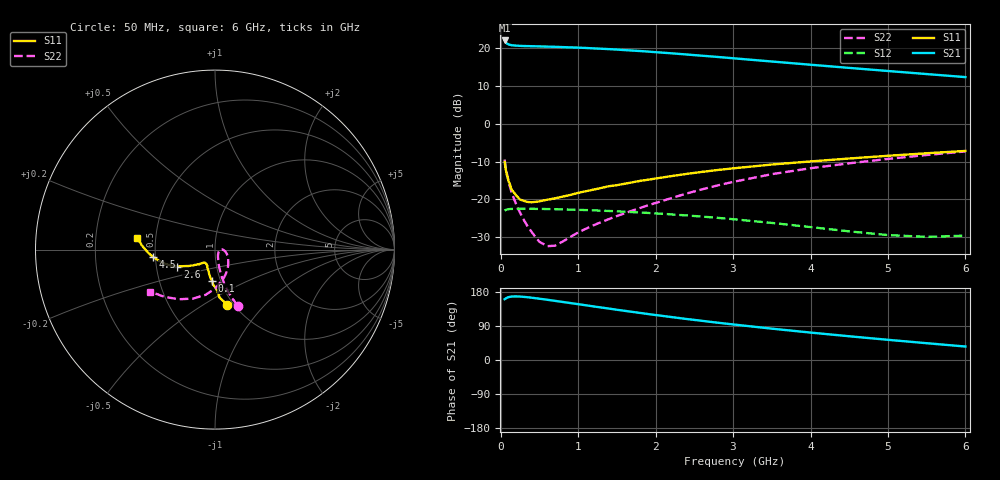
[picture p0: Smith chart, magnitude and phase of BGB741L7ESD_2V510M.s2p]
! (c) 2009  Infineon Technologies AG, Munich
!  Infineon Technologies AG
!  BGB741L7ESD
!  Vce = 2.5V, Ic = 10.0mA
!  DATUM: 30.06.2009 10:08:46
# GHz  S  MA  R  50
!f  S11  S21  S12  S22
!GHz  Mag  Ang  Mag  Ang  Mag  Ang  Mag  Ang
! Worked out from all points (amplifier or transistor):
!   44 points, 50 MHz to 6 GHz, reference 50 ohm
!   highest |S21| = 22.1 dB at 50 MHz (marker M1)
!   |S21| within 3 dB of that: start of sweep to 1.933 GHz
!   unconditionally stable (mu >= 1): 202.3 MHz to end of sweep
!   at 120 MHz: K = 0.97, MSG = 21.8 dB, |S12| = -22.6 dB
!   at 1 GHz: K = 1.03, MAG = 20.4 dB, |S12| = -22.8 dB
!   at 6 GHz: K = 2.32, MAG = 14.6 dB, |S12| = -29.7 dB
!   lowest NFmin = 0.98 dB at 450 MHz
!   S11 on the Smith chart (normalised r, x): 50 MHz: 0.93, -0.63; 100 MHz: 0.91, -0.33; 2.6 GHz: 0.64, -0.13; 4.5 GHz: 0.49, -0.05; 6 GHz: 0.39, +0.06
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0.05  0.3134 -77.7  12.74 160.5  0.07034 19.8  0.336 -68.1
0.07  0.2321 -86.6  11.85 163.2  0.07244 14.2  0.2469 -72.6
0.08  0.2066 -90.3  11.6 164.2  0.07307 12.3  0.2174 -73.8
0.1  0.1733 -95.3  11.3 165.7  0.07384 9.6  0.1743 -75.5
0.15  0.1305 -105.2  10.99 167.6  0.07451 5.7  0.1155 -76.6
0.2  0.1124 -111.9  10.88 167.8  0.07479 3.6  0.08518 -76.1
0.3  0.09483 -120.0  10.75 166.6  0.07478 1.0  0.05286 -71.0
0.6  0.0984 -131.8  10.56 159.0  0.0741 -3.2  0.02386 -32.5
0.8  0.1084 -135.0  10.41 153.2  0.07333 -5.2  0.02745 -6.9
1.1  0.1277 -139.8  10.13 144.3  0.07179 -7.9  0.04066 1.6
1.4  0.149 -143.7  9.778 135.6  0.06982 -10.1  0.05464 -8.2
1.6  0.1603 -146.4  9.494 129.8  0.0683 -11.6  0.06506 -16.4
1.9  0.1811 -149.7  9.077 121.3  0.06582 -13.4  0.08299 -29.9
2.2  0.2023 -152.8  8.619 113.4  0.06298 -14.9  0.1032 -44.0
2.6  0.2305 -155.8  7.994 103.4  0.05888 -16.6  0.1353 -60.4
3  0.2567 -159.5  7.401 93.8  0.05434 -17.5  0.1697 -74.4
3.5  0.2885 -164.0  6.703 82.7  0.04853 -17.4  0.2149 -89.1
4  0.3172 -168.6  6.074 72.4  0.04274 -15.4  0.2576 -101.8
4.5  0.3468 -173.0  5.514 62.6  0.03749 -10.6  0.2995 -114.2
5  0.3767 -178.0  5.017 53.3  0.03347 -2.4  0.3424 -126.1
5.5  0.4071 176.9  4.567 44.3  0.03171 9.1  0.3858 -137.0
6  0.437 171.5  4.163 35.5  0.0329 21.3  0.4304 -147.1
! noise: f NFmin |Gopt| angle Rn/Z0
0.45  0.98  0.04  152  0.13
0.9  1  0.06  126  0.13
1.8  1.04  0.08  120  0.22
2.4  1.07  0.1  119  0.29
3  1.12  0.12  135  0.2
5.5  1.75  0.17  172  0.16
